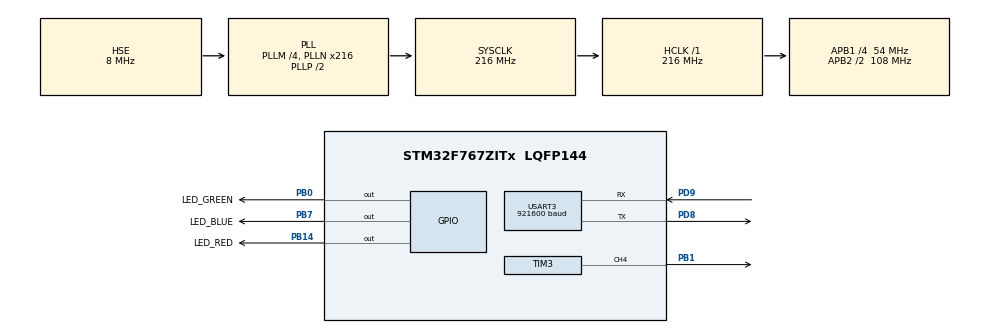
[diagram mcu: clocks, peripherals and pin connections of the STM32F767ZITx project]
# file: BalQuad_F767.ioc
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Mcu.Family=STM32F7
Mcu.Name=STM32F767ZITx
Mcu.Package=LQFP144
NVIC.PriorityGroup=NVIC_PRIORITYGROUP_4
NVIC.USART3_IRQn=true\:0\:0\:false\:false\:true\:true\:true\:true
PA13.Mode=Serial_Wire
PA13.Signal=SYS_JTMS-SWDIO
PA14.Mode=Serial_Wire
PA14.Signal=SYS_JTCK-SWCLK
PB0.GPIO_Label=LED_GREEN
PB0.Signal=GPIO_Output
PB1.Signal=S_TIM3_CH4
PB14.GPIO_Label=LED_RED
PB14.Signal=GPIO_Output
PB7.GPIO_Label=LED_BLUE
PB7.Signal=GPIO_Output
PD8.Mode=Asynchronous
PD8.Signal=USART3_TX
PD9.Mode=Asynchronous
PD9.Signal=USART3_RX
PH0/OSC_IN.Mode=HSE-External-Clock-Source
PH0/OSC_IN.Signal=RCC_OSC_IN
PH1/OSC_OUT.Mode=HSE-External-Clock-Source
PH1/OSC_OUT.Signal=RCC_OSC_OUT
ProjectManager.HeapSize=0x200
ProjectManager.StackSize=0x400
ProjectManager.TargetToolchain=STM32CubeIDE
RCC.48MHZClocksFreq_Value=24000000
RCC.AHBFreq_Value=216000000
RCC.APB1CLKDivider=RCC_HCLK_DIV4
RCC.APB1Freq_Value=54000000
RCC.APB1TimFreq_Value=108000000
RCC.APB2CLKDivider=RCC_HCLK_DIV2
RCC.APB2Freq_Value=108000000
RCC.APB2TimFreq_Value=216000000
RCC.CortexFreq_Value=216000000
RCC.HCLKFreq_Value=216000000
RCC.HSE_VALUE=8000000
RCC.HSI_VALUE=16000000
RCC.LSE_VALUE=32768
RCC.PLLM=4
RCC.PLLMUL=RCC_PLL_MUL9
RCC.PLLN=216
RCC.PLLSourceVirtual=RCC_PLLSOURCE_HSE
RCC.PRESCALERUSB=RCC_USBCLKSOURCE_PLL_DIV1_5
RCC.SYSCLKFreq_VALUE=216000000
RCC.SYSCLKSource=RCC_SYSCLKSOURCE_PLLCLK
RCC.SYSCLKSourceVirtual=RCC_SYSCLKSOURCE_PLLCLK
RCC.USBFreq_Value=216000000
RCC.VCOOutputFreq_Value=432000000
SH.S_TIM3_CH4.0=TIM3_CH4,PWM Generation4 CH4
TIM3.AutoReloadPreload=TIM_AUTORELOAD_PRELOAD_ENABLE
TIM3.Channel-PWM\ Generation4\ CH4=TIM_CHANNEL_4
TIM3.ClockDivision=TIM_CLOCKDIVISION_DIV1
TIM3.Period=249
TIM3.Prescaler=107
TIM3.Pulse-PWM\ Generation4\ CH4=125
USART3.BaudRate=921600
USART3.VirtualMode-Asynchronous=VM_ASYNC
VP_TIM3_VS_ClockSourceINT.Mode=Internal
board=NUCLEO-F767ZI

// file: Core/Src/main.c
/* USER CODE BEGIN Header */
/**
  ******************************************************************************
  * @file           : main.c
  * @brief          : Main program body
  ******************************************************************************
  * @attention
  *
  * Copyright (c) 2026 STMicroelectronics.
  * All rights reserved.
  *
  * This software is licensed under terms that can be found in the LICENSE file
  * in the root directory of this software component.
  * If no LICENSE file comes with this software, it is provided AS-IS.
  *
  ******************************************************************************
  */
/* USER CODE END Header */
#include "main.h"
#include "tim.h"
#include "usart.h"
#include "gpio.h"

/* USER CODE BEGIN Includes */
#include <stdio.h>
/* USER CODE END Includes */

/* USER CODE BEGIN PV */
volatile uint8_t uart3_rx_flag = 0;
uint8_t uart3_rx_data = 0;
uint8_t uart3_rx_temp;
/* USER CODE END PV */

void SystemClock_Config(void);

/* USER CODE BEGIN 0 */
int _write(int file, char *ptr, int len)
{
	HAL_UART_Transmit(&huart3, (uint8_t *)ptr, (uint16_t)len, 100);
	return len;
}
/* USER CODE END 0 */

int main(void)
{

  /* USER CODE BEGIN 1 */
	int count = 0;
	float value = 1.234f;
  /* USER CODE END 1 */

  /* MCU Configuration--------------------------------------------------------*/

  /* Reset of all peripherals, Initializes the Flash interface and the Systick. */
  HAL_Init();

  /* Configure the system clock */
  SystemClock_Config();

  /* Initialize all configured peripherals */
  MX_GPIO_Init();
  MX_TIM3_Init();
  MX_USART3_UART_Init();
  /* USER CODE BEGIN 2 */
  HAL_TIM_PWM_Start(&htim3, TIM_CHANNEL_4);

  /* Tone 1 - 2000 Hz*/
  __HAL_TIM_SET_PRESCALER(&htim3,15U);
  HAL_TIM_GenerateEvent(&htim3, TIM_EVENTSOURCE_UPDATE);
  HAL_Delay(100U);

	/* Tone 2 - 2667 Hz*/
	__HAL_TIM_SET_PRESCALER(&htim3, 11U);
	HAL_TIM_GenerateEvent(&htim3, TIM_EVENTSOURCE_UPDATE);
	HAL_Delay(100U);

	/* Tone 2 - 2667 Hz*/
	__HAL_TIM_SET_PRESCALER(&htim3, 7U);
	HAL_TIM_GenerateEvent(&htim3, TIM_EVENTSOURCE_UPDATE);
	HAL_Delay(100U);

	HAL_TIM_PWM_Stop(&htim3, TIM_CHANNEL_4);

	HAL_UART_Receive_IT(&huart3, &uart3_rx_temp, 1);

	printf("\r\nBALQUAD Debug UART Ready\r\n");
  /* USER CODE END 2 */

  /* Infinite loop */
  while (1)
  {

    /* USER CODE BEGIN 3 */
	  /*
	  if(uart3_rx_flag == 1)
	  {
		  uart3_rx_flag = 0;

		  switch(uart3_rx_data)
		  {

		  case '1':
			  HAL_TIM_PWM_Start(&htim3, TIM_CHANNEL_4);
			  printf("Buzzer ON\r\n");
			  break;
		  case '2':
			  HAL_TIM_PWM_Stop(&htim3, TIM_CHANNEL_4);
			  printf("Buzzer OFF\r\n");
			  break;

		  }

		  HAL_UART_Receive_IT(&huart3, &uart3_rx_temp, 1);

	 }
	 */

	  printf("Count: %d | Value: %.3f\r\n", count++, value);
	  value += 0.001f;
	  HAL_Delay(1000);
  }
  /* USER CODE END 3 */
}

void SystemClock_Config(void)
{
  RCC_OscInitTypeDef RCC_OscInitStruct = {0};
  RCC_ClkInitTypeDef RCC_ClkInitStruct = {0};

  /** Configure the main internal regulator output voltage
  */
  __HAL_RCC_PWR_CLK_ENABLE();
  __HAL_PWR_VOLTAGESCALING_CONFIG(PWR_REGULATOR_VOLTAGE_SCALE1);

  /** Initializes the RCC Oscillators according to the specified parameters
  * in the RCC_OscInitTypeDef structure.
  */
  RCC_OscInitStruct.OscillatorType = RCC_OSCILLATORTYPE_HSE;
  RCC_OscInitStruct.HSEState = RCC_HSE_BYPASS;
  RCC_OscInitStruct.PLL.PLLState = RCC_PLL_ON;
  RCC_OscInitStruct.PLL.PLLSource = RCC_PLLSOURCE_HSE;
  RCC_OscInitStruct.PLL.PLLM = 4;
  RCC_OscInitStruct.PLL.PLLN = 216;
  RCC_OscInitStruct.PLL.PLLP = RCC_PLLP_DIV2;
  RCC_OscInitStruct.PLL.PLLQ = 2;
  RCC_OscInitStruct.PLL.PLLR = 2;
  if (HAL_RCC_OscConfig(&RCC_OscInitStruct) != HAL_OK)
  {
    Error_Handler();
  }

  /** Activate the Over-Drive mode
  */
  if (HAL_PWREx_EnableOverDrive() != HAL_OK)
  {
    Error_Handler();
  }

  /** Initializes the CPU, AHB and APB buses clocks
  */
  RCC_ClkInitStruct.ClockType = RCC_CLOCKTYPE_HCLK|RCC_CLOCKTYPE_SYSCLK
                              |RCC_CLOCKTYPE_PCLK1|RCC_CLOCKTYPE_PCLK2;
  RCC_ClkInitStruct.SYSCLKSource = RCC_SYSCLKSOURCE_PLLCLK;
  RCC_ClkInitStruct.AHBCLKDivider = RCC_SYSCLK_DIV1;
  RCC_ClkInitStruct.APB1CLKDivider = RCC_HCLK_DIV4;
  RCC_ClkInitStruct.APB2CLKDivider = RCC_HCLK_DIV2;

  if (HAL_RCC_ClockConfig(&RCC_ClkInitStruct, FLASH_LATENCY_7) != HAL_OK)
  {
    Error_Handler();
  }
}

/* USER CODE BEGIN 4 */
void HAL_UART_RxCpltCallback(UART_HandleTypeDef *huart)
{
	if(huart->Instance == USART3)
	{
		uart3_rx_data = uart3_rx_temp;
		uart3_rx_flag = 1;

	}
}
/* USER CODE END 4 */

void Error_Handler(void)
{
  __disable_irq();
  while (1)
  {
  }
}
